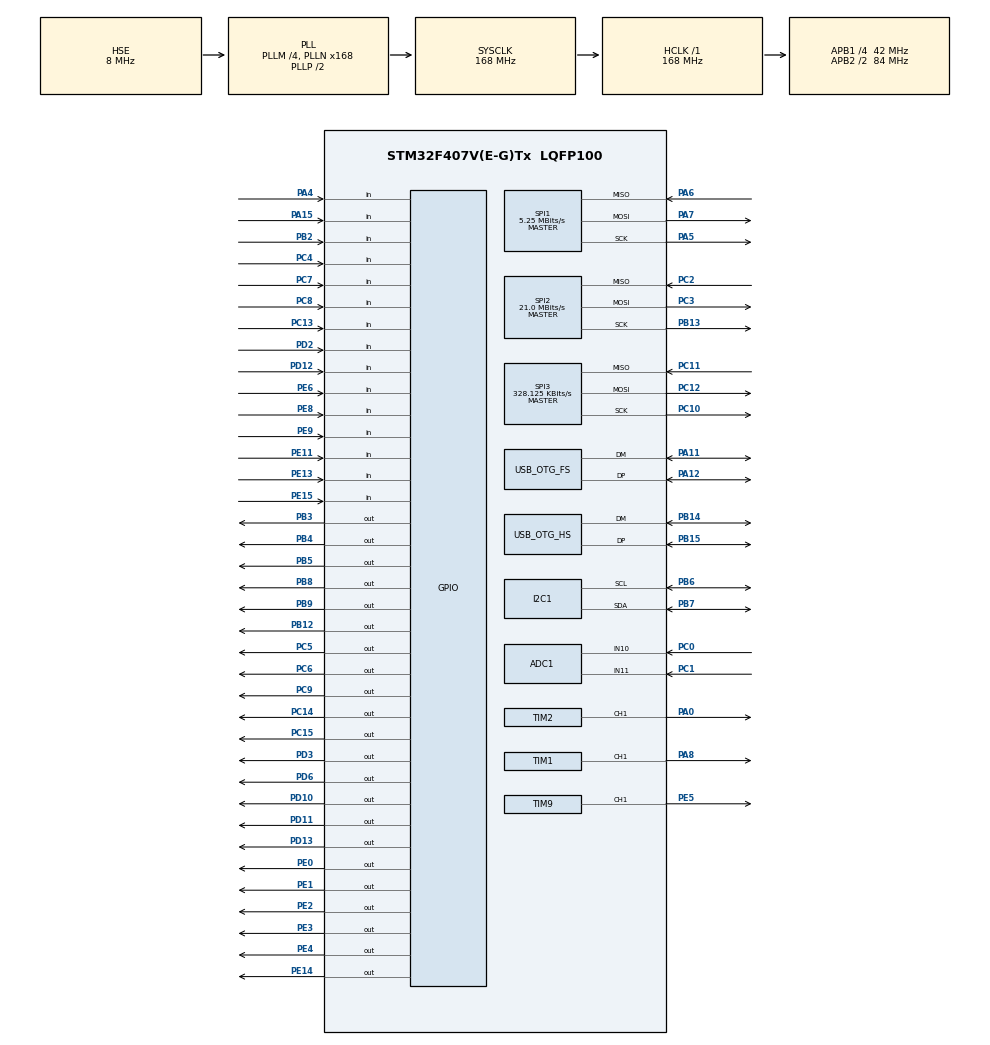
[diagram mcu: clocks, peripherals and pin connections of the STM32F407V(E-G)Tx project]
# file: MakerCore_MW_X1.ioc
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ADC1.Channel-1\#ChannelRegularConversion=ADC_CHANNEL_10
ADC1.NbrOfConversionFlag=1
ADC1.Rank-1\#ChannelRegularConversion=1
ADC1.SamplingTime-1\#ChannelRegularConversion=ADC_SAMPLETIME_480CYCLES
ADC1.master=1
Mcu.Family=STM32F4
Mcu.Name=STM32F407V(E-G)Tx
Mcu.Package=LQFP100
NVIC.OTG_FS_IRQn=true\:6\:0\:true\:false\:true\:false\:true\:true
NVIC.OTG_HS_IRQn=true\:6\:0\:true\:false\:true\:false\:true\:true
NVIC.PriorityGroup=NVIC_PRIORITYGROUP_4
NVIC.TIM2_IRQn=true\:1\:0\:true\:false\:true\:true\:true\:true
NVIC.TIM6_DAC_IRQn=true\:5\:0\:true\:false\:true\:true\:true\:true
PA0-WKUP.Signal=S_TIM2_CH1_ETR
PA11.Mode=Device_Only
PA11.Signal=USB_OTG_FS_DM
PA12.Mode=Device_Only
PA12.Signal=USB_OTG_FS_DP
PA13.Mode=Serial_Wire
PA13.Signal=SYS_JTMS-SWDIO
PA14.Mode=Serial_Wire
PA14.Signal=SYS_JTCK-SWCLK
PA15.Signal=GPIO_Input
PA4.Signal=GPIO_Input
PA5.Mode=Full_Duplex_Master
PA5.Signal=SPI1_SCK
PA6.Mode=Full_Duplex_Master
PA6.Signal=SPI1_MISO
PA7.Mode=Full_Duplex_Master
PA7.Signal=SPI1_MOSI
PA8.Signal=S_TIM1_CH1
PB12.PinState=GPIO_PIN_SET
PB12.Signal=GPIO_Output
PB13.Mode=Full_Duplex_Master
PB13.Signal=SPI2_SCK
PB14.Mode=Host_FS
PB14.Signal=USB_OTG_HS_DM
PB15.Mode=Host_FS
PB15.Signal=USB_OTG_HS_DP
PB2.GPIO_PuPd=GPIO_PULLUP
PB2.Signal=GPIO_Input
PB3.PinState=GPIO_PIN_SET
PB3.Signal=GPIO_Output
PB4.Signal=GPIO_Output
PB5.GPIO_Speed=GPIO_SPEED_FREQ_VERY_HIGH
PB5.Signal=GPIO_Output
PB6.Mode=I2C
PB6.Signal=I2C1_SCL
PB7.Mode=I2C
PB7.Signal=I2C1_SDA
PB8.PinState=GPIO_PIN_SET
PB8.Signal=GPIO_Output
PB9.Signal=GPIO_Output
PC0.Signal=ADCx_IN10
PC1.Signal=ADCx_IN11
PC10.Mode=Full_Duplex_Master
PC10.Signal=SPI3_SCK
PC11.Mode=Full_Duplex_Master
PC11.Signal=SPI3_MISO
PC12.Mode=Full_Duplex_Master
PC12.Signal=SPI3_MOSI
PC13-ANTI_TAMP.Signal=GPIO_Input
PC14-OSC32_IN.Signal=GPIO_Output
PC15-OSC32_OUT.PinState=GPIO_PIN_SET
PC15-OSC32_OUT.Signal=GPIO_Output
PC2.Mode=Full_Duplex_Master
PC2.Signal=SPI2_MISO
PC3.Mode=Full_Duplex_Master
PC3.Signal=SPI2_MOSI
PC4.Signal=GPIO_Input
PC5.Signal=GPIO_Output
PC6.Signal=GPIO_Output
PC7.Signal=GPIO_Input
PC8.Signal=GPIO_Input
PC9.PinState=GPIO_PIN_SET
PC9.Signal=GPIO_Output
PD10.Signal=GPIO_Output
PD11.GPIO_Speed=GPIO_SPEED_FREQ_HIGH
PD11.PinState=GPIO_PIN_SET
PD11.Signal=GPIO_Output
PD12.Signal=GPIO_Input
PD13.Signal=GPIO_Output
PD2.Signal=GPIO_Input
PD3.Signal=GPIO_Output
PD6.GPIO_Speed=GPIO_SPEED_FREQ_VERY_HIGH
PD6.Signal=GPIO_Output
PE0.GPIO_Speed=GPIO_SPEED_FREQ_VERY_HIGH
PE0.Signal=GPIO_Output
PE1.PinState=GPIO_PIN_SET
PE1.Signal=GPIO_Output
PE11.GPIO_PuPd=GPIO_PULLUP
PE11.Signal=GPIO_Input
PE13.GPIO_PuPd=GPIO_PULLUP
PE13.Signal=GPIO_Input
PE14.GPIO_Speed=GPIO_SPEED_FREQ_HIGH
PE14.PinState=GPIO_PIN_SET
PE14.Signal=GPIO_Output
PE15.GPIO_PuPd=GPIO_PULLUP
PE15.Signal=GPIO_Input
PE2.Signal=GPIO_Output
PE3.GPIO_Speed=GPIO_SPEED_FREQ_VERY_HIGH
PE3.Signal=GPIO_Output
PE4.PinState=GPIO_PIN_SET
PE4.Signal=GPIO_Output
PE5.Signal=S_TIM9_CH1
PE6.Signal=GPIO_Input
PE8.GPIO_PuPd=GPIO_PULLUP
PE8.Signal=GPIO_Input
PE9.Signal=GPIO_Input
PH0-OSC_IN.Mode=HSE-External-Oscillator
PH0-OSC_IN.Signal=RCC_OSC_IN
PH1-OSC_OUT.Mode=HSE-External-Oscillator
PH1-OSC_OUT.Signal=RCC_OSC_OUT
ProjectManager.HeapSize=0x2000
ProjectManager.StackSize=0x4000
ProjectManager.TargetToolchain=STM32CubeIDE
RCC.48MHZClocksFreq_Value=48000000
RCC.AHBFreq_Value=168000000
RCC.APB1CLKDivider=RCC_HCLK_DIV4
RCC.APB1Freq_Value=42000000
RCC.APB1TimFreq_Value=84000000
RCC.APB2CLKDivider=RCC_HCLK_DIV2
RCC.APB2Freq_Value=84000000
RCC.APB2TimFreq_Value=168000000
RCC.CortexFreq_Value=168000000
RCC.HCLKFreq_Value=168000000
RCC.HSE_VALUE=8000000
RCC.HSI_VALUE=16000000
RCC.LSE_VALUE=32768
RCC.PLLM=4
RCC.PLLN=168
RCC.PLLQ=7
RCC.SYSCLKFreq_VALUE=168000000
RCC.SYSCLKSource=RCC_SYSCLKSOURCE_PLLCLK
RCC.VCOOutputFreq_Value=336000000
SH.ADCx_IN10.0=ADC1_IN10,IN10
SH.ADCx_IN11.0=ADC1_IN11,IN11
SH.S_TIM1_CH1.0=TIM1_CH1,PWM Generation1 CH1
SH.S_TIM2_CH1_ETR.0=TIM2_CH1,PWM Generation1 CH1
SH.S_TIM9_CH1.0=TIM9_CH1,PWM Generation1 CH1
SPI1.BaudRatePrescaler=SPI_BAUDRATEPRESCALER_16
SPI1.CalculateBaudRate=5.25 MBits/s
SPI1.Direction=SPI_DIRECTION_2LINES
SPI1.Mode=SPI_MODE_MASTER
SPI1.VirtualType=VM_MASTER
SPI2.BaudRatePrescaler=SPI_BAUDRATEPRESCALER_2
SPI2.CalculateBaudRate=21.0 MBits/s
SPI2.Direction=SPI_DIRECTION_2LINES
SPI2.Mode=SPI_MODE_MASTER
SPI2.VirtualType=VM_MASTER
SPI3.BaudRatePrescaler=SPI_BAUDRATEPRESCALER_128
SPI3.CalculateBaudRate=328.125 KBits/s
SPI3.Direction=SPI_DIRECTION_2LINES
SPI3.Mode=SPI_MODE_MASTER
SPI3.VirtualType=VM_MASTER
TIM1.AutoReloadPreload=TIM_AUTORELOAD_PRELOAD_ENABLE
TIM1.Channel-PWM\ Generation1\ CH1=TIM_CHANNEL_1
TIM1.Period=19999
TIM1.Prescaler=167
TIM2.AutoReloadPreload=TIM_AUTORELOAD_PRELOAD_ENABLE
TIM2.Channel-PWM\ Generation1\ CH1=TIM_CHANNEL_1
TIM2.Period=999
TIM2.Prescaler=83
TIM6.AutoReloadPreload=TIM_AUTORELOAD_PRELOAD_ENABLE
TIM6.Period=99
TIM6.Prescaler=83
TIM9.AutoReloadPreload=TIM_AUTORELOAD_PRELOAD_ENABLE
TIM9.Channel-PWM\ Generation1\ CH1=TIM_CHANNEL_1
TIM9.Period=999
TIM9.Prescaler=167
USB_DEVICE.CLASS_NAME_FS=CDC
USB_DEVICE.VirtualMode-CDC_FS=Cdc
USB_DEVICE.VirtualModeFS=Cdc_FS
USB_HOST.USBH_HandleTypeDef-MSC_HS=hUsbHostHS
USB_HOST.VirtualModeHS=Msc
USB_OTG_FS.VirtualMode=Device_Only
USB_OTG_HS.VirtualMode-Host_FS=Host_FS
VP_FATFS_VS_Generic.Mode=User_defined
VP_FATFS_VS_USB.Mode=USB
VP_TIM1_VS_ClockSourceINT.Mode=Internal
VP_TIM2_VS_ClockSourceINT.Mode=Internal
VP_TIM6_VS_ClockSourceINT.Mode=Enable_Timer
VP_TIM9_VS_ClockSourceINT.Mode=Internal
VP_USB_DEVICE_VS_USB_DEVICE_CDC_FS.Mode=CDC_FS
VP_USB_HOST_VS_USB_HOST_MSC_HS.Mode=MSC_HS
board=custom

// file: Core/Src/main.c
/* USER CODE BEGIN Header */
/**
  ******************************************************************************
  * @file           : main.c
  * @brief          : Main program body
  ******************************************************************************
  * @attention
  *
  * Copyright (c) 2026 STMicroelectronics.
  * All rights reserved.
  *
  * This software is licensed under terms that can be found in the LICENSE file
  * in the root directory of this software component.
  * If no LICENSE file comes with this software, it is provided AS-IS.
  *
  ******************************************************************************
  */
/* USER CODE END Header */
#include "main.h"
#include "adc.h"
#include "fatfs.h"
#include "i2c.h"
#include "spi.h"
#include "tim.h"
#include "usb_device.h"
#include "usb_host.h"
#include "gpio.h"

/* USER CODE BEGIN Includes */
#include "hal_board.h"
#include "hal_gpio.h"
#include "hal_buzzer.h"
#include "hal_time.h"
#include "hal_serial.h"
#include "hal_i2c.h"
#include "hal_spi.h"
#include "hal_adc.h"
#include "core_selftest.h"
#include "core_main.h"
#include "hal_watchdog.h"
#include "hal_step_timer.h"
/* USER CODE END Includes */

/* USER CODE BEGIN PV */
volatile int mc_boot_safe_ok = 0;  // 1 = حالت امن تأیید شد
/* USER CODE END PV */

void SystemClock_Config(void);
void MX_USB_HOST_Process(void);

int main(void)
{

  /* MCU Configuration--------------------------------------------------------*/

  /* Reset of all peripherals, Initializes the Flash interface and the Systick. */
  HAL_Init();

  /* Configure the system clock */
  SystemClock_Config();

  /* USER CODE BEGIN SysInit */
  mc_board_safe_state_c();  // اولین قدم: خروجی‌ها خاموش
  /* USER CODE END SysInit */

  /* Initialize all configured peripherals */
  MX_GPIO_Init();
  MX_I2C1_Init();
  MX_SPI2_Init();
  MX_USB_DEVICE_Init();
  MX_SPI1_Init();
  MX_ADC1_Init();
  MX_TIM2_Init();
  MX_TIM9_Init();
  MX_TIM6_Init();
  MX_SPI3_Init();
  MX_FATFS_Init();
  MX_USB_HOST_Init();
  MX_TIM1_Init();
  /* USER CODE BEGIN 2 */
  mc_board_safe_state_c();  // دوباره، چون MX_TIM پین هیتر را AF کرده بود
  mc_boot_safe_ok = mc_board_safe_state_check_c();
  const int mc_selftest_ok = mc_gpio_selftest_c();   // نتیجه در mc_gpio_selftest_ok هم هست
  mc_boot_safe_ok = mc_board_safe_state_check_c();   // بعد از تست دوباره حالت امن را چک می‌کنیم
  mc_time_init_c();                                  // راه‌اندازی زمان‌پایه (TIM6)
  const int mc_time_ok = mc_time_selftest_c();       // نتیجه در mc_time_selftest_ok هم هست
  mc_i2c_selftest_c();   // نتیجه در mc_i2c_selftest_ok
  mc_spi_selftest_c();   // نتیجه در mc_spi_selftest_ok
  mc_adc_selftest_c();   // نتیجه در mc_adc_selftest_ok
  mc_ring_selftest_c();  // نتیجه در mc_ring_selftest_ok
  mc_sched_selftest_c();  // نتیجه در mc_sched_selftest_ok
  mc_core_init_c();       // ثبت وظیفه‌های هسته
  // کد صوتی راه‌اندازی: همه سالم = بوق Boot ، مشکل در هر کدام = بوق Error
  if ((mc_boot_safe_ok == 1) && (mc_selftest_ok == 1) && (mc_time_ok == 1)) {
    mc_buzzer_play_c(MC_SOUND_BOOT);
  } else {
    mc_buzzer_play_c(MC_SOUND_ERROR);
  }
  mc_watchdog_start_c(3000U);  // Watchdog با تایم‌اوت ۳ ثانیه؛ تغذیه‌اش در زمان‌بند هسته انجام می‌شود
  /* USER CODE END 2 */

  /* Infinite loop */
  while (1)
  {
    MX_USB_HOST_Process();

    /* USER CODE BEGIN 3 */
    mc_gpio_debug_poll_c();
    mc_time_debug_poll_c();    // به‌روزرسانی متغیرهای دیباگ زمان
    mc_serial_poll_c();        // پیام شروع و echo ارتباط USB
    mc_adc_debug_poll_c();     // به‌روزرسانی متغیرهای دیباگ ADC
    mc_core_loop_c();          // اجرای زمان‌بند هسته
  }
  /* USER CODE END 3 */
}

void SystemClock_Config(void)
{
  RCC_OscInitTypeDef RCC_OscInitStruct = {0};
  RCC_ClkInitTypeDef RCC_ClkInitStruct = {0};

  /** Configure the main internal regulator output voltage
  */
  __HAL_RCC_PWR_CLK_ENABLE();
  __HAL_PWR_VOLTAGESCALING_CONFIG(PWR_REGULATOR_VOLTAGE_SCALE1);

  /** Initializes the RCC Oscillators according to the specified parameters
  * in the RCC_OscInitTypeDef structure.
  */
  RCC_OscInitStruct.OscillatorType = RCC_OSCILLATORTYPE_HSE;
  RCC_OscInitStruct.HSEState = RCC_HSE_ON;
  RCC_OscInitStruct.PLL.PLLState = RCC_PLL_ON;
  RCC_OscInitStruct.PLL.PLLSource = RCC_PLLSOURCE_HSE;
  RCC_OscInitStruct.PLL.PLLM = 4;
  RCC_OscInitStruct.PLL.PLLN = 168;
  RCC_OscInitStruct.PLL.PLLP = RCC_PLLP_DIV2;
  RCC_OscInitStruct.PLL.PLLQ = 7;
  if (HAL_RCC_OscConfig(&RCC_OscInitStruct) != HAL_OK)
  {
    Error_Handler();
  }

  /** Initializes the CPU, AHB and APB buses clocks
  */
  RCC_ClkInitStruct.ClockType = RCC_CLOCKTYPE_HCLK|RCC_CLOCKTYPE_SYSCLK
                              |RCC_CLOCKTYPE_PCLK1|RCC_CLOCKTYPE_PCLK2;
  RCC_ClkInitStruct.SYSCLKSource = RCC_SYSCLKSOURCE_PLLCLK;
  RCC_ClkInitStruct.AHBCLKDivider = RCC_SYSCLK_DIV1;
  RCC_ClkInitStruct.APB1CLKDivider = RCC_HCLK_DIV4;
  RCC_ClkInitStruct.APB2CLKDivider = RCC_HCLK_DIV2;

  if (HAL_RCC_ClockConfig(&RCC_ClkInitStruct, FLASH_LATENCY_5) != HAL_OK)
  {
    Error_Handler();
  }
}

/* USER CODE BEGIN 4 */
// وقفه تایمرها: زمان‌پایه (TIM6) هر ۱۰۰ میکروثانیه اینجا می‌آید.
// این تابع باید خیلی کوتاه باشد؛ هیچ‌وقت HAL_Delay یا کار سنگین اینجا نگذار.
void HAL_TIM_PeriodElapsedCallback(TIM_HandleTypeDef *htim)
{
  if (htim->Instance == TIM6)
  {
    mc_time_tick_c();
  }
  else if (htim->Instance == TIM2)
  {
    mc_steptimer_isr_c();
  }
}
/* USER CODE END 4 */

void Error_Handler(void)
{
  __disable_irq();
  while (1)
  {
  }
}
